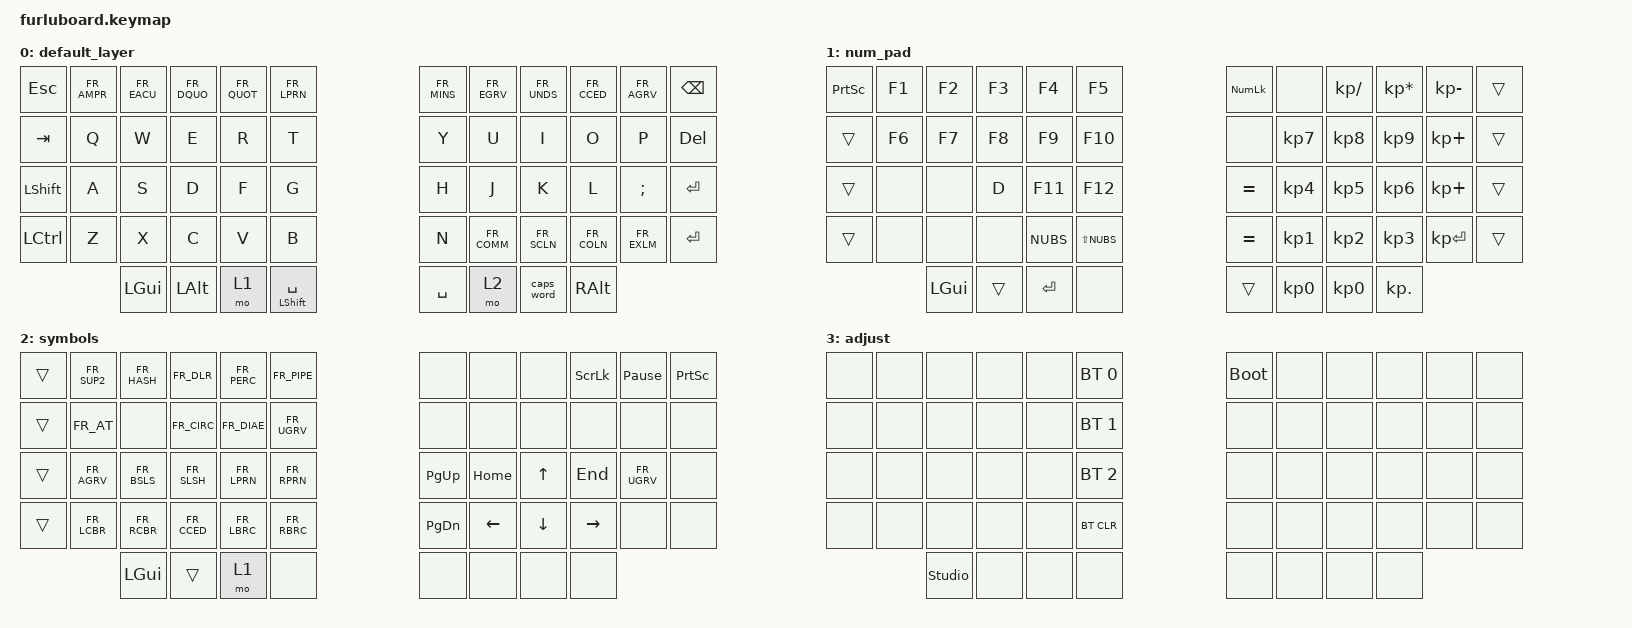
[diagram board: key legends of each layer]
#include <behaviors.dtsi>
#include <dt-bindings/zmk/keys.h>
#include <dt-bindings/zmk/bt.h>
#include "keymap_french.h"

/ {
    keymap {
        compatible = "zmk,keymap";

        default_layer {
            bindings = <            
                &kp ESC     &kp FR_AMPR     &kp FR_EACU     &kp FR_DQUO     &kp FR_QUOT     &kp FR_LPRN                                        &kp FR_MINS     &kp FR_EGRV      &kp FR_UNDS     &kp FR_CCED         &kp FR_AGRV         &kp BSPC                    
                &kp TAB     &kp Q           &kp W           &kp E           &kp R           &kp T                                              &kp Y           &kp U            &kp I           &kp O               &kp P               &kp DEL
                &kp LSHIFT  &kp A           &kp S           &kp D           &kp F           &kp G                                              &kp H           &kp J            &kp K           &kp L               &kp SEMI            &kp ENTER
                &kp LCTRL   &kp Z           &kp X           &kp C           &kp V           &kp B                                              &kp N           &kp FR_COMM      &kp FR_SCLN     &kp FR_COLN         &kp FR_EXLM         &kp ENTER
                                            &kp LGUI                        &kp LALT        &mo 1           &mt LSHIFT SPACE    &kp SPACE      &mo 2           &caps_word                       &kp RALT        
                >;                      
        };                      
        num_pad {                       
            bindings = <                        
                &kp PSCRN   &kp F1          &kp F2          &kp F3      &kp F4              &kp F5                                             &kp KP_NLCK     &none            &kp KP_SLASH    &kp KP_ASTERISK     &kp KP_MINUS        &trans                    
                &trans      &kp F6          &kp F7          &kp F8      &kp F9              &kp F10                                            &none           &kp KP_N7        &kp KP_N8       &kp KP_N9           &kp KP_PLUS         &trans
                &trans      &none           &none           &kp D       &kp F11             &kp F12                                            &kp EQUAL       &kp KP_N4        &kp KP_N5       &kp KP_N6           &kp KP_PLUS         &trans
                &trans      &none           &none           &none       &kp NUBS            &kp LS(NUBS)                                       &kp EQUAL       &kp KP_N1        &kp KP_N2       &kp KP_N3           &kp KP_ENTER        &trans
                                            &kp LGUI                    &trans              &kp ENTER       &none                &trans        &kp KP_N0       &kp KP_N0                        &kp KP_DOT   
                >;
        };              
        symbols {               
            bindings = <                
                &trans      &kp FR_SUP2     &kp FR_HASH     &kp FR_DLR      &kp FR_PERC     &kp FR_PIPE                                         &none          &none            &none           &kp SCROLLLOCK      &kp PAUSE_BREAK     &kp PSCRN                    
                &trans      &kp FR_AT       &none           &kp FR_CIRC     &kp FR_DIAE     &kp FR_UGRV                                         &none          &none            &none           &none               &none               &none
                &trans      &kp FR_AGRV     &kp FR_BSLS     &kp FR_SLSH     &kp FR_LPRN     &kp FR_RPRN                                         &kp PAGE_UP    &kp HOME         &kp UP          &kp END             &kp FR_UGRV         &none
                &trans      &kp FR_LCBR     &kp FR_RCBR     &kp FR_CCED     &kp FR_LBRC     &kp FR_RBRC                                         &kp PAGE_DOWN  &kp LEFT         &kp DOWN        &kp RIGHT           &none               &none
                                            &kp LGUI                        &trans          &mo 1            &none                &none         &none          &none                            &none
                >;              
        };                      
        adjust {                
            bindings = <                
                &none       &none           &none           &none           &none           &bt BT_SEL 0                                        &bootloader     &none           &none           &none               &none               &none                    
                &none       &none           &none           &none           &none           &bt BT_SEL 1                                        &none           &none           &none           &none               &none               &none
                &none       &none           &none           &none           &none           &bt BT_SEL 2                                        &none           &none           &none           &none               &none               &none
                &none       &none           &none           &none           &none           &bt BT_CLR                                          &none           &none           &none           &none               &none               &none
                                            &studio_unlock                  &none           &none           &none                &none          &none           &none           &none
                >;
        };
    };

    conditional_layers {
        compatible = "zmk,conditional-layers";
        tri_layer {
            if-layers = <1 2>;
            then-layer = <3>;
        };
    };
};

//config for home row mods
&mt {
    tapping-term-ms = <200>;
};
&mt {
    flavor = "balanced";
};
&mt {
    quick-tap-ms = <150>;
};
